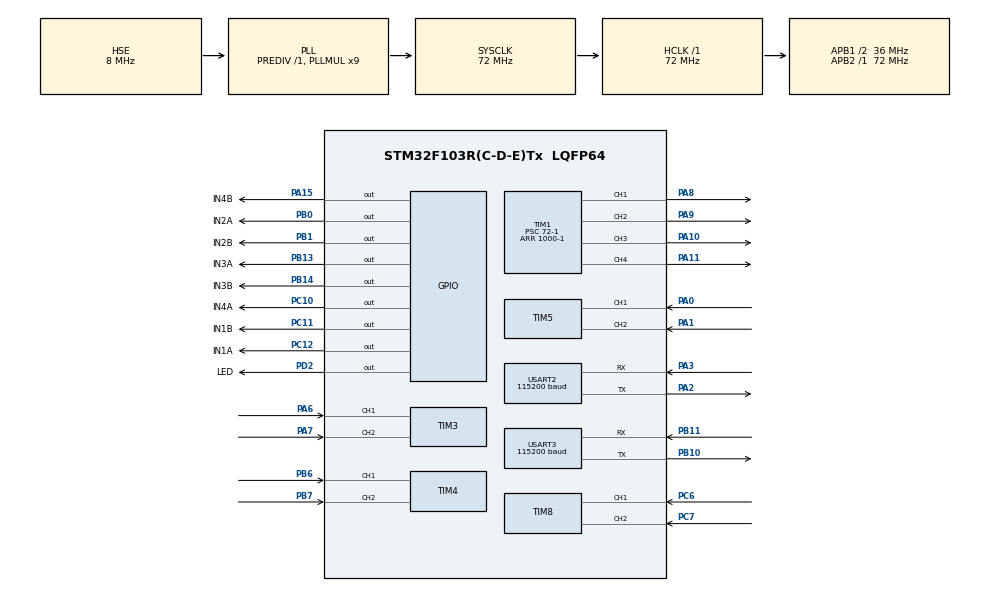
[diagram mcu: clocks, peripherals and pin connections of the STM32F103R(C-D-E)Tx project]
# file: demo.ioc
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Dma.Request0=USART2_RX
Dma.Request1=USART3_RX
Dma.USART2_RX.0.Direction=DMA_PERIPH_TO_MEMORY
Dma.USART2_RX.0.Instance=DMA1_Channel6
Dma.USART2_RX.0.MemDataAlignment=DMA_MDATAALIGN_BYTE
Dma.USART2_RX.0.MemInc=DMA_MINC_ENABLE
Dma.USART2_RX.0.Mode=DMA_NORMAL
Dma.USART2_RX.0.PeriphDataAlignment=DMA_PDATAALIGN_BYTE
Dma.USART2_RX.0.PeriphInc=DMA_PINC_DISABLE
Dma.USART2_RX.0.Priority=DMA_PRIORITY_HIGH
Dma.USART3_RX.1.Direction=DMA_PERIPH_TO_MEMORY
Dma.USART3_RX.1.Instance=DMA1_Channel3
Dma.USART3_RX.1.MemDataAlignment=DMA_MDATAALIGN_BYTE
Dma.USART3_RX.1.MemInc=DMA_MINC_ENABLE
Dma.USART3_RX.1.Mode=DMA_NORMAL
Dma.USART3_RX.1.PeriphDataAlignment=DMA_PDATAALIGN_BYTE
Dma.USART3_RX.1.PeriphInc=DMA_PINC_DISABLE
Dma.USART3_RX.1.Priority=DMA_PRIORITY_VERY_HIGH
Mcu.Family=STM32F1
Mcu.Name=STM32F103R(C-D-E)Tx
Mcu.Package=LQFP64
NVIC.DMA1_Channel3_IRQn=true\:0\:0\:false\:false\:true\:false\:true
NVIC.DMA1_Channel6_IRQn=true\:0\:0\:false\:false\:true\:false\:true
NVIC.PriorityGroup=NVIC_PRIORITYGROUP_4
NVIC.TIM2_IRQn=true\:0\:0\:false\:false\:true\:true\:true
NVIC.USART2_IRQn=true\:0\:0\:false\:false\:true\:true\:true
NVIC.USART3_IRQn=true\:0\:0\:false\:false\:true\:true\:true
PA0-WKUP.Signal=S_TIM5_CH1
PA1.Signal=S_TIM5_CH2
PA10.Signal=S_TIM1_CH3
PA11.Signal=S_TIM1_CH4
PA13.Mode=Serial_Wire
PA13.Signal=SYS_JTMS-SWDIO
PA14.Mode=Serial_Wire
PA14.Signal=SYS_JTCK-SWCLK
PA15.GPIO_Label=IN4B
PA15.Signal=GPIO_Output
PA2.Mode=Asynchronous
PA2.Signal=USART2_TX
PA3.Mode=Asynchronous
PA3.Signal=USART2_RX
PA6.Signal=S_TIM3_CH1
PA7.Signal=S_TIM3_CH2
PA8.Signal=S_TIM1_CH1
PA9.Signal=S_TIM1_CH2
PB0.GPIO_Label=IN2A
PB0.Signal=GPIO_Output
PB1.GPIO_Label=IN2B
PB1.Signal=GPIO_Output
PB10.Mode=Asynchronous
PB10.Signal=USART3_TX
PB11.Mode=Asynchronous
PB11.Signal=USART3_RX
PB13.GPIO_Label=IN3A
PB13.Signal=GPIO_Output
PB14.GPIO_Label=IN3B
PB14.Signal=GPIO_Output
PB6.Signal=S_TIM4_CH1
PB7.Signal=S_TIM4_CH2
PC10.GPIO_Label=IN4A
PC10.Signal=GPIO_Output
PC11.GPIO_Label=IN1B
PC11.Signal=GPIO_Output
PC12.GPIO_Label=IN1A
PC12.Signal=GPIO_Output
PC6.Signal=S_TIM8_CH1
PC7.Signal=S_TIM8_CH2
PD0-OSC_IN.Mode=HSE-External-Oscillator
PD0-OSC_IN.Signal=RCC_OSC_IN
PD1-OSC_OUT.Mode=HSE-External-Oscillator
PD1-OSC_OUT.Signal=RCC_OSC_OUT
PD2.GPIO_Label=LED
PD2.Signal=GPIO_Output
ProjectManager.HeapSize=0x200
ProjectManager.StackSize=0x400
ProjectManager.TargetToolchain=Makefile
RCC.AHBFreq_Value=72000000
RCC.APB1CLKDivider=RCC_HCLK_DIV2
RCC.APB1Freq_Value=36000000
RCC.APB1TimFreq_Value=72000000
RCC.APB2Freq_Value=72000000
RCC.APB2TimFreq_Value=72000000
RCC.HCLKFreq_Value=72000000
RCC.PLLMUL=RCC_PLL_MUL9
RCC.PLLSourceVirtual=RCC_PLLSOURCE_HSE
RCC.SYSCLKFreq_VALUE=72000000
RCC.SYSCLKSource=RCC_SYSCLKSOURCE_PLLCLK
RCC.USBFreq_Value=72000000
SH.S_TIM1_CH1.0=TIM1_CH1,PWM Generation1 CH1
SH.S_TIM1_CH2.0=TIM1_CH2,PWM Generation2 CH2
SH.S_TIM1_CH3.0=TIM1_CH3,PWM Generation3 CH3
SH.S_TIM1_CH4.0=TIM1_CH4,PWM Generation4 CH4
SH.S_TIM3_CH1.0=TIM3_CH1,Encoder_Interface
SH.S_TIM3_CH2.0=TIM3_CH2,Encoder_Interface
SH.S_TIM4_CH1.0=TIM4_CH1,Encoder_Interface
SH.S_TIM4_CH2.0=TIM4_CH2,Encoder_Interface
SH.S_TIM5_CH1.0=TIM5_CH1,Encoder_Interface
SH.S_TIM5_CH2.0=TIM5_CH2,Encoder_Interface
SH.S_TIM8_CH1.0=TIM8_CH1,Encoder_Interface
SH.S_TIM8_CH2.0=TIM8_CH2,Encoder_Interface
TIM1.Channel-PWM\ Generation1\ CH1=TIM_CHANNEL_1
TIM1.Channel-PWM\ Generation2\ CH2=TIM_CHANNEL_2
TIM1.Channel-PWM\ Generation3\ CH3=TIM_CHANNEL_3
TIM1.Channel-PWM\ Generation4\ CH4=TIM_CHANNEL_4
TIM1.Period=1000-1
TIM1.Prescaler=72-1
TIM2.Period=20000-1
TIM2.Prescaler=72-1
USART2.BaudRate=115200
USART2.VirtualMode=VM_ASYNC
USART3.BaudRate=115200
USART3.VirtualMode=VM_ASYNC
VP_TIM1_VS_ClockSourceINT.Mode=Internal
VP_TIM2_VS_ClockSourceINT.Mode=Internal
board=custom

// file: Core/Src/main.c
/* USER CODE BEGIN Header */
/**
 ******************************************************************************
 * @file           : main.c
 * @brief          : Main program body
 ******************************************************************************
 * @attention
 *
 * <h2><center>&copy; Copyright (c) 2021 STMicroelectronics.
 * All rights reserved.</center></h2>
 *
 * This software component is licensed by ST under BSD 3-Clause license,
 * the "License"; You may not use this file except in compliance with the
 * License. You may obtain a copy of the License at:
 *                        opensource.org/licenses/BSD-3-Clause
 *
 ******************************************************************************
 */
/* USER CODE END Header */
#include "main.h"
#include "dma.h"
#include "tim.h"
#include "usart.h"
#include "gpio.h"

/* USER CODE BEGIN Includes */
#include <math.h>
#include "jy62.h"
#include "zigbee.h"
/* USER CODE END Includes */

void SystemClock_Config(void);

/* USER CODE BEGIN 0 */
#define Turn_Angle_Bias 10
#define PID_MAX 900
#define PID_MIN 0
#define GET_PACKAGE 0
#define PUT_PACKAGE 1
#define SET_BEACON 2
#define EMPTY_STATE 3
#define TIME_UP 4
#define sq(x) ((x) * (x))
// #define ABS(x) ((x) > 0 ? (x) : (-(x)))

float packageX[2], packageY[2];
/*PID参数----------------------------------------------------------------------*/
float INTEGRAL[4] = {0, 0, 0, 0}, pre_err[4] = {0, 0, 0, 0};
const float Kp[4] = {40, 40, 40, 40}, Ki[4] = {0.2, 0.2, 0.2, 0.2}, Kd[4] = {100, 100, 100, 100};
float pid[4] = {0, 0, 0, 0};
float target[4] = {0, 0, 0, 0};
int isPackageValid[2] = {0, 0};
float distance;
float BeaconDir[3][2] = {{64, 64}, {192, 64}, {128, 190}}; // 信标坐标
uint8_t STATE;
uint8_t isInitialMinePark = 0;
float angle0;
float absoluteAngle;

struct MYCOORD
{
  float x, y;
  float I; //矿物强度
};

struct MYCOORD surveyData[2][3];
int surveyDataCount[2]; // 0 ~ 4 4 代表坐标已经计算完成.

struct PARK
{
  float x, y;
  uint16_t mineType;
};

struct RIVALBEACON
{
  float x, y;
  int id;
};
struct RIVALBEACON RivalBeacon[3] = {{0, 0, 0}, {0, 0, 0}, {0, 0, 0}};
int RivalBeaconNum = 0;

struct PARK Park[15] = {{15, 15, 0}, {127, 15, 0}, {239, 15, 0}, {239, 127, 0}, {239, 239, 0}, {127, 239, 0}, {15, 239, 0}, {15, 127, 0}, {0, 0, 0}, {0, 0, 0}, {0, 0, 0}};

uint16_t userGetMineNum(uint16_t _mineType)
{
  if (_mineType == 0)
    return getCarMineANum();
  if (_mineType == 1)
    return getCarMineBNum();
  if (_mineType == 2)
    return getCarMineCNum();
  if (_mineType == 3)
    return getCarMineDNum();
  return 0;
}

void clearDistance()
{
  distance = 0;
}

float getDistance()
{
  return distance;
}

float PID(float in, float target, int i)
{
  float err = target - in;
  INTEGRAL[i] += err * 20;
  if (INTEGRAL[i] > 8000)
    INTEGRAL[i] = 8000;
  float derr = (err - pre_err[i]) / 20;
  pre_err[i] = err;
  pid[i] = (Kp[i] * err) + (Ki[i] * INTEGRAL[i]) + (Kd[i] * derr);
  float output;
  if (pid[i] < PID_MIN)
    output = PID_MIN;
  else if (pid[i] > PID_MAX)
    output = PID_MAX;
  else
    output = pid[i];
  return output;
}

void Calibrate_Angle()
{
  float temp = GetYaw();
  angle0 = temp / 20;
  if (temp < 60)
    for (int i = 1; i < 20; i++)
    {
      if ((temp = GetYaw()) > 300)
        temp -= 360;
      angle0 += temp / 20;
    }
  else if (temp > 300)
    for (int i = 1; i < 20; i++)
    {
      if ((temp = GetYaw()) < 60)
        temp += 360;
      angle0 += temp / 20;
    }
  else
    for (int i = 1; i < 20; i++)
      angle0 += GetYaw() / 20;
  absoluteAngle = angle0;
}

float getAngle()
{
  float temp = GetYaw() - angle0;
  return temp > 180 ? temp - 360 : temp < -180 ? temp + 360
                                               : temp;
}

void Set_Left_Direction(int direction)
{
  HAL_GPIO_WritePin(IN1A_GPIO_Port, IN1A_Pin, RESET);
  HAL_GPIO_WritePin(IN1B_GPIO_Port, IN1B_Pin, RESET);
  HAL_GPIO_WritePin(IN2A_GPIO_Port, IN2A_Pin, RESET);
  HAL_GPIO_WritePin(IN2B_GPIO_Port, IN2B_Pin, RESET);
  if (direction == 1)
  {
    HAL_GPIO_WritePin(IN1A_GPIO_Port, IN1A_Pin, SET);
    HAL_GPIO_WritePin(IN2B_GPIO_Port, IN2B_Pin, SET);
  }
  else if (direction == -1)
  {
    HAL_GPIO_WritePin(IN1B_GPIO_Port, IN1B_Pin, SET);
    HAL_GPIO_WritePin(IN2A_GPIO_Port, IN2A_Pin, SET);
  }
  else
  {
    HAL_GPIO_WritePin(IN1A_GPIO_Port, IN1A_Pin, SET);
    HAL_GPIO_WritePin(IN1B_GPIO_Port, IN1B_Pin, SET);
    HAL_GPIO_WritePin(IN2A_GPIO_Port, IN2A_Pin, SET);
    HAL_GPIO_WritePin(IN2B_GPIO_Port, IN2B_Pin, SET);
  }
}

void Set_Right_Direction(int direction)
{
  HAL_GPIO_WritePin(IN3A_GPIO_Port, IN3A_Pin, RESET);
  HAL_GPIO_WritePin(IN3B_GPIO_Port, IN3B_Pin, RESET);
  HAL_GPIO_WritePin(IN4A_GPIO_Port, IN4A_Pin, RESET);
  HAL_GPIO_WritePin(IN4B_GPIO_Port, IN4B_Pin, RESET);
  if (direction == 1)
  {
    HAL_GPIO_WritePin(IN3A_GPIO_Port, IN3A_Pin, SET);
    HAL_GPIO_WritePin(IN4B_GPIO_Port, IN4B_Pin, SET);
  }
  else if (direction == -1)
  {
    HAL_GPIO_WritePin(IN3B_GPIO_Port, IN3B_Pin, SET);
    HAL_GPIO_WritePin(IN4A_GPIO_Port, IN4A_Pin, SET);
  }
  else
  {
    HAL_GPIO_WritePin(IN3A_GPIO_Port, IN3A_Pin, SET);
    HAL_GPIO_WritePin(IN3B_GPIO_Port, IN3B_Pin, SET);
    HAL_GPIO_WritePin(IN4A_GPIO_Port, IN4A_Pin, SET);
    HAL_GPIO_WritePin(IN4B_GPIO_Port, IN4B_Pin, SET);
  }
}

void Set_Speed(float speed, int i) { target[i] = speed > 0 ? speed : 0; }

float Add_Angle(float angleA, float angleB)
{
  float result = angleA + angleB;
  return result < -180 ? result + 360 : result > 180 ? result - 360
                                                     : result;
}

void Turn(float angle)
{
  Set_Right_Direction(0);
  Set_Left_Direction(0);
  float v;
  angle0 = GetYaw();
  angle0 = Add_Angle(angle0, angle);
  if (getAngle() < 0)
  {
    Set_Left_Direction(-1);
    Set_Right_Direction(1);
    for (int i = 0; i < 4; i++)
      Set_Speed(8, i);
    while (getAngle() < -50)
      ;
    while (getAngle() < -5)
    {
      v = 3;
      for (int i = 0; i < 4; i++)
        Set_Speed(v, i);
    }
  }
  else
  {
    Set_Left_Direction(1);
    Set_Right_Direction(-1);
    for (int i = 0; i < 4; i++)
      Set_Speed(8, i);
    while (getAngle() > 50)
      ;
    while (getAngle() > 5)
    {
      v = 3;
      for (int i = 0; i < 4; i++)
        Set_Speed(v, i);
    }
  }
  if (getAngle() < 0)
  {
    Set_Left_Direction(-1);
    Set_Right_Direction(1);
    for (int i = 0; i < 4; i++)
      Set_Speed(2, i);
    while (getAngle() < -1)
      ;
  }
  else
  {
    Set_Left_Direction(1);
    Set_Right_Direction(-1);
    for (int i = 0; i < 4; i++)
      Set_Speed(2, i);
    while (getAngle() > 1)
      ;
  }
  Set_Left_Direction(0);
  Set_Right_Direction(0);
}

void HAL_TIM_PeriodElapsedCallback(TIM_HandleTypeDef *htim)
{
  if (htim->Instance == TIM2)
  {
    unsigned int cnt0 = __HAL_TIM_GetCounter(&htim3);
    unsigned int cnt1 = __HAL_TIM_GetCounter(&htim4);
    unsigned int cnt2 = __HAL_TIM_GetCounter(&htim5);
    unsigned int cnt3 = __HAL_TIM_GetCounter(&htim8);

    if (cnt0 > 32676)
      cnt0 = 65535 - cnt0;
    if (cnt1 > 32676)
      cnt1 = 65535 - cnt1;
    if (cnt2 > 32676)
      cnt2 = 65535 - cnt2;
    if (cnt3 > 32676)
      cnt3 = 65535 - cnt3;

    __HAL_TIM_SetCounter(&htim3, 0);
    __HAL_TIM_SetCounter(&htim4, 0);
    __HAL_TIM_SetCounter(&htim5, 0);
    __HAL_TIM_SetCounter(&htim8, 0);

    float speed0 = (float)cnt0 * 20 / 532 * 20.4 * 0.71;
    float speed1 = (float)cnt1 * 20 / 531 * 20.4 * 0.71;
    float speed2 = (float)cnt2 * 20 / 531 * 20.4 * 0.71;
    float speed3 = (float)cnt3 * 20 / 530 * 20.4 * 0.71;

    // distance += (speed0 + speed1 + speed2 + speed3) * 0.0125;
    float distance1 = (speed0 + speed2) * 0.025;
    float distance2 = (speed1 + speed3) * 0.025;
    distance += sqrt(sq(distance1) + sq(distance2));

    int pwm0 = (int)PID(speed0, target[0], 0);
    int pwm1 = (int)PID(speed1, target[1], 1);
    int pwm2 = (int)PID(speed2, target[2], 2);
    int pwm3 = (int)PID(speed3, target[3], 3);

    __HAL_TIM_SetCompare(&htim1, TIM_CHANNEL_1, pwm0);
    __HAL_TIM_SetCompare(&htim1, TIM_CHANNEL_2, pwm1);
    __HAL_TIM_SetCompare(&htim1, TIM_CHANNEL_3, pwm2);
    __HAL_TIM_SetCompare(&htim1, TIM_CHANNEL_4, pwm3);
  }
}
struct MYCOORD userGetCarPos()
{
  struct MYCOORD coord = {0, 0, 0};
  if (getIsCarPosValid())
  {
    coord.x = getCarPosX();
    coord.y = getCarPosY();
    return coord;
  }
  int x[3], y[3], beaconD[3], xBase, yBase, cnt = 0;
  float A[2], B[2], C[2], xTemp[2], yTemp[2], xRes = 0, yRes = 0;
  int rivalBeaconD[3];
  for (int i = 0; i < 3; i++)
  {
    x[i] = getMyBeaconPosX(i);
    y[i] = getMyBeaconPosY(i);
    beaconD[i] = getDistanceOfMyBeacon(i);
  }
  for (int i = 0; i < RivalBeaconNum; i++)
    rivalBeaconD[i] = getDistanceOfRivalBeacon(RivalBeacon[i].id);
  A[0] = x[1] - x[0];
  B[0] = y[1] - y[0];
  A[1] = x[2] - x[0];
  B[1] = y[2] - y[0];
  xTemp[0] = (x[0] + x[1]) / 2 - A[0] * (sq(beaconD[1]) - sq(beaconD[0])) / (sq(A[0]) + sq(B[0])) / 2;
  yTemp[0] = (y[0] + y[1]) / 2 - B[0] * (sq(beaconD[1]) - sq(beaconD[0])) / (sq(A[0]) + sq(B[0])) / 2;
  xTemp[1] = (x[0] + x[2]) / 2 - A[1] * (sq(beaconD[2]) - sq(beaconD[0])) / (sq(A[1]) + sq(B[1])) / 2;
  yTemp[1] = (y[0] + y[2]) / 2 - B[1] * (sq(beaconD[2]) - sq(beaconD[0])) / (sq(A[1]) + sq(B[1])) / 2;
  C[0] = A[0] * xTemp[0] + B[0] * yTemp[0];
  C[1] = A[1] * xTemp[1] + B[1] * yTemp[1];
  xBase = (C[0] * B[1] - C[1] * B[0]) / (A[0] * B[1] - A[1] * B[0]);
  yBase = (C[1] * A[0] - C[0] * A[1]) / (A[0] * B[1] - A[1] * B[0]);
  for (int i = -1; i < 2; i++)
    for (int j = -1; j < 2; j++)
      if ((int)sqrt(sq(xBase - x[0] + i) + sq(yBase - y[0] + j)) == beaconD[0] && (int)sqrt(sq(xBase - x[1] + i) + sq(yBase - y[1] + j)) == beaconD[1] && (int)sqrt(sq(xBase - x[2] + i) + sq(yBase - y[2] + j)) == beaconD[2])
      {
        int flag = 1;
        for (int k = 0; k < RivalBeaconNum; k++)
          if ((int)sqrt(sq(xBase - RivalBeacon[k].x + i) + sq(yBase - RivalBeacon[k].y + j)) != rivalBeaconD[k])
            flag = 0;
        if (flag)
          xRes += i, yRes += j, cnt++;
      }

  if (cnt == 0)
  {
    coord.x = xBase;
    coord.y = yBase;
    return coord;
  }
  coord.x = xBase + xRes / cnt;
  coord.y = yBase + yRes / cnt;
  return coord;
}

struct MYCOORD surveyGetCarPos()
{
  struct MYCOORD coord = {0, 0, 0};
  if (getIsCarPosValid())
  {
    coord.x = getCarPosX();
    coord.y = getCarPosY();
    return coord;
  };
  int x[3], y[3], beaconD[3], xBase, yBase, cnt = 0;
  int rivalBeaconD[3];
  float A[2], B[2], C[2], xTemp[2], yTemp[2], xRes = 0, yRes = 0;
  for (int i = 0; i < 3; i++)
  {
    x[i] = getMyBeaconPosX(i);
    y[i] = getMyBeaconPosY(i);
    beaconD[i] = getDistanceOfMyBeacon(i);
  }
  for (int i = 0; i < RivalBeaconNum; i++)
    rivalBeaconD[i] = getDistanceOfRivalBeacon(RivalBeacon[i].id);
  A[0] = x[1] - x[0];
  B[0] = y[1] - y[0];
  A[1] = x[2] - x[0];
  B[1] = y[2] - y[0];
  xTemp[0] = (x[0] + x[1]) / 2 - A[0] * (sq(beaconD[1]) - sq(beaconD[0])) / (sq(A[0]) + sq(B[0])) / 2;
  yTemp[0] = (y[0] + y[1]) / 2 - B[0] * (sq(beaconD[1]) - sq(beaconD[0])) / (sq(A[0]) + sq(B[0])) / 2;
  xTemp[1] = (x[0] + x[2]) / 2 - A[1] * (sq(beaconD[2]) - sq(beaconD[0])) / (sq(A[1]) + sq(B[1])) / 2;
  yTemp[1] = (y[0] + y[2]) / 2 - B[1] * (sq(beaconD[2]) - sq(beaconD[0])) / (sq(A[1]) + sq(B[1])) / 2;
  C[0] = A[0] * xTemp[0] + B[0] * yTemp[0];
  C[1] = A[1] * xTemp[1] + B[1] * yTemp[1];
  xBase = (C[0] * B[1] - C[1] * B[0]) / (A[0] * B[1] - A[1] * B[0]);
  yBase = (C[1] * A[0] - C[0] * A[1]) / (A[0] * B[1] - A[1] * B[0]);
  for (int i = -1; i < 2; i++)
    for (int j = -1; j < 2; j++)
      if ((int)sqrt(sq(xBase - x[0] + i) + sq(yBase - y[0] + j)) == beaconD[0] && (int)sqrt(sq(xBase - x[1] + i) + sq(yBase - y[1] + j)) == beaconD[1] && (int)sqrt(sq(xBase - x[2] + i) + sq(yBase - y[2] + j)) == beaconD[2])
      {
        int flag = 1;
        for (int k = 0; k < RivalBeaconNum; k++)
          if ((int)sqrt(sq(xBase - RivalBeacon[k].x + i) + sq(yBase - RivalBeacon[k].y + j)) != rivalBeaconD[k])
            flag = 0;
        if (flag)
          xRes += i, yRes += j, cnt++;
      }
  if (cnt != 1)
  {
    coord.x = -1.0;
    coord.y = -1.0;
    coord.I = -1.0;
  }
  else
  {
    coord.x = xBase + xRes;
    coord.y = yBase + yRes;
  }
  return coord;
}

void Calculate_Package_Position(int i)
{
  float A[2], B[2], C[2], invdet;
  A[0] = surveyData[i][1].x - surveyData[i][0].x;
  A[1] = surveyData[i][2].x - surveyData[i][1].x;
  B[0] = surveyData[i][1].y - surveyData[i][0].y;
  B[1] = surveyData[i][2].y - surveyData[i][1].y;
  C[0] = 2.0e9 * (surveyData[i][1].I - surveyData[i][0].I) / (surveyData[i][1].I + surveyData[i][0].I) / (surveyData[i][1].I + surveyData[i][0].I) + (surveyData[i][1].x + surveyData[i][0].x) * A[0] / 2.0 + (surveyData[i][1].y + surveyData[i][0].y) * B[0] / 2.0;
  C[1] = 2.0e9 * (surveyData[i][2].I - surveyData[i][1].I) / (surveyData[i][2].I + surveyData[i][1].I) / (surveyData[i][2].I + surveyData[i][1].I) + (surveyData[i][2].x + surveyData[i][1].x) * A[1] / 2.0 + (surveyData[i][2].y + surveyData[i][1].y) * B[1] / 2.0;
  invdet = 1.0 / (A[0] * B[1] - A[1] * B[0]);
  packageX[i] = (B[1] * C[0] - B[0] * C[1]) * invdet;
  packageY[i] = (A[0] * C[1] - A[1] * C[0]) * invdet;
}

void survey()
{
  struct MYCOORD coord = surveyGetCarPos();
  if (coord.I < -0.5)
    return;
  for (int i = 0; i < 2; i++)
  {
    if (isPackageValid[i])
      continue;
    if (surveyDataCount[i] == 0)
    {
      surveyData[i][0] = coord;
      surveyData[i][0].I = getMineIntensity(i);
      surveyDataCount[i] = 1;
    }
    else if (surveyDataCount[i] == 1)
    {
      if ((int)coord.x == (int)surveyData[i][0].x && (int)coord.y == (int)surveyData[i][0].y)
        continue;
      surveyData[i][1] = coord;
      surveyData[i][1].I = getMineIntensity(i);
      surveyDataCount[i] = 2;
    }
    else if (surveyDataCount[i] == 2)
    {
      if (((int)surveyData[i][1].x - (int)surveyData[i][0].x) * ((int)coord.y - (int)surveyData[i][0].y) - ((int)coord.x - (int)surveyData[i][0].x) * ((int)surveyData[i][1].y - (int)surveyData[i][0].y) == 0)
        continue;
      surveyData[i][2] = coord;
      surveyData[i][2].I = getMineIntensity(i);
      surveyDataCount[i] = 3;
    }
    else if (surveyDataCount[i] == 3)
    {
      continue;
    }
    else if (surveyDataCount[i] == 4)
      continue;
  }
  for (int i = 0; i < 2; i++)
    if (surveyDataCount[i] == 3)
    {
      Calculate_Package_Position(i);
      if (packageX[i] > 7 && packageX[i] < 248 && packageY[i] > 7 && packageY[i] < 248)
        isPackageValid[i] = 1;
      else
        isPackageValid[i] = 0;
      surveyDataCount[i] = 0;
    }
}

void Set_RF_Direction(int direction);
void Set_LF_Direction(int direction);

void Move(float velocity, float angle)
{
  angle *= 2 * 3.14159 / 360;
  angle += 0.785398;
  float v1, v2;
  v1 = velocity * cos(angle);
  v2 = velocity * sin(angle);
  if (v1 >= 0)
  {
    Set_LF_Direction(1);
    Set_Speed(v1, 0);
    Set_Speed(v1, 2);
  }
  else
  {
    Set_LF_Direction(-1);
    Set_Speed(-v1, 0);
    Set_Speed(-v1, 2);
  }

  if (v2 >= 0)
  {
    Set_RF_Direction(1);
    Set_Speed(v2, 1);
    Set_Speed(v2, 3);
  }
  else
  {
    Set_RF_Direction(-1);
    Set_Speed(-v2, 1);
    Set_Speed(-v2, 3);
  }
}

void SurveyTowards(float targetAngle)
{
  if (isPackageValid[0] && isPackageValid[1])
  {
    return;
  }
  if (!isPackageValid[0])
    surveyDataCount[0] = 0;
  if (!isPackageValid[1])
    surveyDataCount[1] = 0;
  Move(10, targetAngle);
  int temp = surveyDataCount[0] + surveyDataCount[1];
  while (surveyDataCount[0] + surveyDataCount[1] == temp)
  {
    HAL_Delay(20);
    survey();
  }
  Move(10, targetAngle - 30);
  temp = surveyDataCount[0] + surveyDataCount[1];
  while (surveyDataCount[0] + surveyDataCount[1] == temp)
  {
    HAL_Delay(20);
    survey();
  }
  temp = surveyDataCount[0] + surveyDataCount[1];
  Move(10, targetAngle + 30);
  while (surveyDataCount[0] + surveyDataCount[1] == temp)
  {
    HAL_Delay(20);
    survey();
  }
}

int Avoidance(float x0, float y0, float x, float y)
{
  float A, B, C, xn, yn;
  A = y - y0;
  B = x0 - x;
  C = (x - x0) * y0 - (y - y0) * x0;
  for (int i = 0; i < 3; i++)
  {
    xn = (RivalBeacon[i].x * B * B - A * C - RivalBeacon[i].y * A * B) / (A * A + B * B);
    yn = (RivalBeacon[i].y * A * A - B * C - A * B * RivalBeacon[i].x) / (A * A + B * B);
    if (x > x0)
    {
      if (xn > x || xn < x0)
        continue;
    }
    else
    {
      if (xn > x0 || xn < x)
        continue;
    }
    float dis = sq(xn - RivalBeacon[i].x) + sq(yn - RivalBeacon[i].y);
    if (dis < 64)
      return 0;
  }
  return 1;
}

void MoveToNonAvoid(float x, float y, uint16_t _mineType);

void MoveTo(float x, float y, uint16_t _mineType)
{
  if (x < 7 || x > 248 || y < 7 || y > 248)
    return;
  float velocity;
  struct MYCOORD coord = userGetCarPos();
  float errX = x - coord.x;
  float errY = y - coord.y;

  if (Avoidance(coord.x, coord.y, x, y) == 0)
  {
    if (Avoidance(coord.x, coord.y, coord.x, y) == 1 && Avoidance(coord.x, y, x, y) == 1)
    {
      MoveToNonAvoid(coord.x, y, _mineType);
      MoveToNonAvoid(x, y, _mineType);
      return;
    }
    else if (Avoidance(coord.x, coord.y, x, coord.y) == 1 && Avoidance(x, coord.y, x, y) == 1)
    {
      MoveToNonAvoid(x, coord.y, _mineType);
      MoveToNonAvoid(x, y, _mineType);
      return;
    }
    /* if (ABS(coord.x - x) > ABS(coord.y - y))
    {
      if (coord.y > 127)
        MoveToNonAvoid(coord.x, coord.y - 50, _mineType);
      else
        MoveToNonAvoid(coord.x, coord.y + 50, _mineType);
      MoveTo(x, y, _mineType);
      return;
    }
    else
    {
      if (coord.x > 127)
        MoveToNonAvoid(coord.x - 50, coord.y, _mineType);
      else
        MoveToNonAvoid(coord.x + 50, coord.y, _mineType);
      MoveTo(x, y, _mineType);
    } */
  }

  float targetAngle = 0, difference = sqrt(errX * errX + errY * errY);
  clearDistance();
  int flag = 0;
  targetAngle = atan2(errX, errY) * 57.296 + absoluteAngle - GetYaw();
  if (STATE == (uint8_t)GET_PACKAGE)
    flag = getCarMineSumNum();
  if (STATE != SET_BEACON)
    SurveyTowards(targetAngle);
  targetAngle = atan2(errX, errY) * 57.296 + absoluteAngle - GetYaw();
  while (difference > 5)
  {
    clearDistance();
    if (STATE == (uint8_t)GET_PACKAGE && flag < getCarMineSumNum())
      break;
    else if (STATE == (uint8_t)SET_BEACON && difference < 20)
      break;
    if (difference < 10)
      velocity = 3;
    else if (difference < 20)
      velocity = 7;
    else if (difference < 30)
      velocity = 10;
    else if (difference < 50)
    {
      if (STATE == (uint8_t)PUT_PACKAGE)
        velocity = 13;
      else
        velocity = 17;
    }
    else if (difference < 100)
    {
      if (STATE == (uint8_t)PUT_PACKAGE)
        velocity = 17;
      else
        velocity = 23;
    }
    else
    {
      if (STATE == (uint8_t)PUT_PACKAGE)
        velocity = 20;
      else
        velocity = 27;
    }

    Move(velocity, targetAngle);

    while (getDistance() < 0.75 * difference)
    {
      HAL_Delay(20);
      if (STATE == (uint8_t)GET_PACKAGE && flag < getCarMineSumNum())
        break;
    }

    Set_LF_Direction(0);
    Set_RF_Direction(0);
    HAL_Delay(400);
    // while (STATE == (uint8_t)PUT_PACKAGE && userGetMineNum(_mineType) != 0)
    //   HAL_Delay(100);
    coord = userGetCarPos();
    errX = x - coord.x;
    errY = y - coord.y;
    difference = sqrt(errX * errX + errY * errY);
    targetAngle = atan2(errX, errY) * 57.296 + absoluteAngle - GetYaw();
  }
}

void MoveToNonAvoid(float x, float y, uint16_t _mineType)
{
  if (x < 7 || x > 248 || y < 7 || y > 248)
    return;
  float velocity;
  struct MYCOORD coord = userGetCarPos();
  float errX = x - coord.x;
  float errY = y - coord.y;

  float targetAngle = 0, difference = sqrt(errX * errX + errY * errY);
  clearDistance();
  int flag = 0;
  targetAngle = atan2(errX, errY) * 57.296 + absoluteAngle - GetYaw();
  if (STATE == (uint8_t)GET_PACKAGE)
    flag = getCarMineSumNum();
  if (STATE != SET_BEACON)
    SurveyTowards(targetAngle);
  targetAngle = atan2(errX, errY) * 57.296 + absoluteAngle - GetYaw();
  while (difference > 5)
  {
    clearDistance();
    if (STATE == (uint8_t)GET_PACKAGE && flag < getCarMineSumNum())
      break;
    else if (STATE == (uint8_t)SET_BEACON && difference < 20)
      break;
    if (difference < 10)
      velocity = 3;
    else if (difference < 20)
      velocity = 7;
    else if (difference < 30)
      velocity = 10;
    else if (difference < 50)
    {
      if (STATE == (uint8_t)PUT_PACKAGE)
        velocity = 13;
      else
        velocity = 17;
    }
    else if (difference < 100)
    {
      if (STATE == (uint8_t)PUT_PACKAGE)
        velocity = 17;
      else
        velocity = 23;
    }
    else
    {
      if (STATE == (uint8_t)PUT_PACKAGE)
        velocity = 20;
      else
        velocity = 27;
    }

    Move(velocity, targetAngle);

    while (getDistance() < 0.75 * difference)
    {
      HAL_Delay(20);
      if (STATE == (uint8_t)GET_PACKAGE && flag < getCarMineSumNum())
        break;
    }

    Set_LF_Direction(0);
    Set_RF_Direction(0);
    HAL_Delay(400);
    // while (STATE == (uint8_t)PUT_PACKAGE && userGetMineNum(_mineType) != 0)
    //   HAL_Delay(100);
    coord = userGetCarPos();
    errX = x - coord.x;
    errY = y - coord.y;
    difference = sqrt(errX * errX + errY * errY);
    targetAngle = atan2(errX, errY) * 57.296 + absoluteAngle - GetYaw();
  }
}

// void Calculate_Package_Position(void)
// {
//   float x[3], y[3];
//   float I[3][2];
//   float A[2], B[2], C[2][2], invdet;
//   Get_Survey_Data(&x[0], &y[0], I[0]);
//   do
//   {
//     Get_Survey_Data(&x[0], &y[0], I[0]);
//   } while (x[0] < 0 || y[0] < 0);
//   // u2_printf("%d, %d, %d, %d\n", x[0], y[0], I[0][0], I[0][1]);
//   Set_Speed(0, 0);
//   Set_Speed(0, 2);
//   Set_Speed(7, 1);
//   Set_Speed(7, 3);
//   Set_LF_Direction(0);
//   Set_RF_Direction(1);
//   do
//   {
//     HAL_Delay(100);
//     Get_Survey_Data(&x[1], &y[1], I[1]);
//     if (x[1] < 0 || y[1] < 0)
//       continue;
//   } while (((int)x[1] - (int)x[0]) == 0 && ((int)y[1] - (int)y[0]) == 0);
//   Set_Speed(7, 0);
//   Set_Speed(7, 2);
//   Set_Speed(0, 1);
//   Set_Speed(0, 3);
//   Set_LF_Direction(1);
//   Set_RF_Direction(0);
//   do
//   {
//     HAL_Delay(100);
//     Get_Survey_Data(&x[2], &y[2], I[2]);
//     if (x[2] < 0 || y[2] < 0)
//       continue;
//   } while (((int)x[1] - (int)x[0]) * ((int)y[2] - (int)y[0]) - ((int)x[2] - (int)x[0]) * ((int)y[1] - (int)y[0]) == 0);
//   A[0] = (x[1] - x[0]);
//   A[1] = (x[2] - x[1]);
//   B[0] = (y[1] - y[0]);
//   B[1] = (y[2] - y[1]);
//   C[0][0] = 2.0e9 * (I[1][0] - I[0][0]) / (I[1][0] + I[0][0]) / (I[1][0] + I[0][0]) + (x[1] + x[0]) * (x[1] - x[0]) / 2 + (y[1] + y[0]) * (y[1] - y[0]) / 2;
//   C[1][0] = 2.0e9 * (I[2][0] - I[1][0]) / (I[2][0] + I[1][0]) / (I[2][0] + I[1][0]) + (x[2] + x[1]) * (x[2] - x[1]) / 2 + (y[2] + y[1]) * (y[2] - y[1]) / 2;
//   C[0][1] = 2.0e9 * (I[1][1] - I[0][1]) / (I[1][1] + I[0][1]) / (I[1][1] + I[0][1]) + (x[1] + x[0]) * (x[1] - x[0]) / 2 + (y[1] + y[0]) * (y[1] - y[0]) / 2;
//   C[1][1] = 2.0e9 * (I[2][1] - I[1][1]) / (I[2][1] + I[1][1]) / (I[2][1] + I[1][1]) + (x[2] + x[1]) * (x[2] - x[1]) / 2 + (y[2] + y[1]) * (y[2] - y[1]) / 2;
//   invdet = 1.0 / (A[0] * B[1] - A[1] * B[0]);
//   packageX[0] = (B[1] * C[0][0] - B[0] * C[1][0]) * invdet;
//   packageY[0] = (A[0] * C[1][0] - A[1] * C[0][0]) * invdet;
//   packageX[1] = (B[1] * C[0][1] - B[0] * C[1][1]) * invdet;
//   packageY[1] = (A[0] * C[1][1] - A[1] * C[0][1]) * invdet;
// }

void Set_Beacon()
{
  Set_LF_Direction(0);
  Set_RF_Direction(0);
  HAL_Delay(500);
  HAL_GPIO_WritePin(LED_GPIO_Port, LED_Pin, SET);
  HAL_Delay(1000);
  HAL_GPIO_WritePin(LED_GPIO_Port, LED_Pin, RESET);
}

uint16_t getNearestPark(uint16_t _mineType)
{
  uint16_t tmp = 0;
  struct MYCOORD coord = userGetCarPos();
  float x = coord.x, y = coord.y;
  float dist = 0, distMin = 1e9;
  if (getCarTask() == 0)
  {
    for (int i = 0; i < 8; i++)
    {
      dist = sq(x - Park[i].x) + sq(y - Park[i].y);
      if (dist < distMin)
      {
        distMin = dist;
        tmp = i;
      }
    }
  }
  else
  {
    for (int i = 0; i < 11; i++)
    {
      if (Park[i].mineType == _mineType)
      {
        dist = sq(x - Park[i].x) + sq(y - Park[i].y);
        if (dist < distMin)
        {
          distMin = dist;
          tmp = i;
        }
      }
    }
  }
  return tmp;
}

void getPackage()
{
  struct MYCOORD coord = userGetCarPos();
  if (!isPackageValid[0] && !isPackageValid[1])
  {
    if (coord.x < 128 && coord.y < 128)
      SurveyTowards(45);
    else if (coord.x < 128 && coord.y >= 128)
      SurveyTowards(135);
    else if (coord.x >= 128 && coord.y < 128)
      SurveyTowards(-45);
    else
      SurveyTowards(-135);
  }
  else if (isPackageValid[0] && isPackageValid[1])
  {
    float dist0 = sq(coord.x - packageX[0]) + sq(coord.y - packageY[0]);
    float dist1 = sq(coord.x - packageX[1]) + sq(coord.y - packageY[1]);
    if (dist0 < dist1)
    {
      MoveTo(packageX[0], packageY[0], 0);
      isPackageValid[0] = 0;
    }
    else
    {
      MoveTo(packageX[1], packageY[1], 0);
      isPackageValid[1] = 0;
    }
  }
  else
  {
    if (isPackageValid[0])
    {
      coord = userGetCarPos();
      SurveyTowards(atan2(packageX[0] - coord.x, packageY[0] - coord.y) * 57.296 + absoluteAngle - GetYaw());
      if (sqrt(sq(packageX[1] - coord.x) + sq(packageY[1] - coord.y)) < sqrt(sq(packageX[0] - coord.x) + sq(packageY[0] - coord.y)) - 10.0)
      {
        MoveTo(packageX[1], packageY[1], 0);
        isPackageValid[1] = 0;
      }
      else
      {
        MoveTo(packageX[0], packageY[0], 0);
        isPackageValid[0] = 0;
      }
    }
    else
    {
      coord = userGetCarPos();
      SurveyTowards(atan2(packageX[1] - coord.x, packageY[1] - coord.y) * 57.296 + absoluteAngle - GetYaw());
      if (sqrt(sq(packageX[0] - coord.x) + sq(packageY[0] - coord.y)) < sqrt(sq(packageX[1] - coord.x) + sq(packageY[1] - coord.y)) - 10.0)
      {
        MoveTo(packageX[0], packageY[0], 0);
        isPackageValid[0] = 0;
      }
      else
      {
        MoveTo(packageX[1], packageY[1], 0);
        isPackageValid[1] = 0;
      }
    }
  }
}

void SetBeacon()
{
  struct MYCOORD coord = userGetCarPos();
  int k = 0;
  float dist1[3], dist2[2];
  int tmp = 0, j = 0;
  for (int i = 0; i < 3; i++)
    dist1[i] = sq(coord.x - BeaconDir[i][0]) + sq(coord.y - BeaconDir[i][1]);
  for (int i = 0; i < 3; i++)
    tmp = dist1[tmp] < dist1[i] ? tmp : i;
  MoveTo(BeaconDir[tmp][0], BeaconDir[tmp][1], 0);
  zigbeeSend(k++);
  Set_Beacon();
  for (int i = 0; i < 3; i++)
  {
    if (i != tmp)
    {
      coord = userGetCarPos();
      dist2[j] = sq(coord.x - BeaconDir[i][0]) + sq(coord.y - BeaconDir[i][1]);
      j++;
    }
  }
  if (dist2[0] < dist2[1])
  {
    for (int i = 0; i < 3; i++)
      if (i != tmp)
      {
        MoveTo(BeaconDir[i][0], BeaconDir[i][1], 0);
        zigbeeSend(k++);
        Set_Beacon();
      }
  }
  else
  {
    for (int i = 2; i >= 0; i--)
      if (i != tmp)
      {
        MoveTo(BeaconDir[i][0], BeaconDir[i][1], 0);
        zigbeeSend(k++);
        Set_Beacon();
      }
  }
}

uint16_t curMostMineType()
{
  uint16_t tmp = 0, mineNum[4];
  mineNum[0] = getCarMineANum();
  mineNum[1] = getCarMineBNum();
  mineNum[2] = getCarMineCNum();
  mineNum[3] = getCarMineDNum();
  for (int i = 0; i < 4; i++)
  {
    if (mineNum[i] > mineNum[tmp])
      tmp = i;
  }
  return tmp;
}

void initialParkMineType()
{
  for (int i = 0; i < 8; i++)
    Park[i].mineType = (uint16_t)getParkDotMineType(i);
  for (int i = 0; i < 3; i++)
  {
    Park[i + 8].x = (float)getMyBeaconPosX(i);
    Park[i + 8].y = (float)getMyBeaconPosY(i);
    Park[i + 8].mineType = getMyBeaconMineType(i);
    if (getIsDistanceOfRivalBeaconValid(i))
    {
      RivalBeacon[RivalBeaconNum].x = (float)getRivalBeaconPosX(i);
      RivalBeacon[RivalBeaconNum].y = (float)getRivalBeaconPosY(i);
      RivalBeacon[RivalBeaconNum].id = i;
      RivalBeaconNum++;
    }
  }
}

void Set_LF_Direction(int direction)
{
  HAL_GPIO_WritePin(IN3A_GPIO_Port, IN3A_Pin, RESET);
  HAL_GPIO_WritePin(IN3B_GPIO_Port, IN3B_Pin, RESET);
  HAL_GPIO_WritePin(IN1A_GPIO_Port, IN1A_Pin, RESET);
  HAL_GPIO_WritePin(IN1B_GPIO_Port, IN1B_Pin, RESET);
  if (direction == 1)
  {
    HAL_GPIO_WritePin(IN3A_GPIO_Port, IN3A_Pin, SET);
    HAL_GPIO_WritePin(IN1A_GPIO_Port, IN1A_Pin, SET);
  }
  else if (direction == -1)
  {
    HAL_GPIO_WritePin(IN3B_GPIO_Port, IN3B_Pin, SET);
    HAL_GPIO_WritePin(IN1B_GPIO_Port, IN1B_Pin, SET);
  }
  else
  {
    Set_Speed(0, 0);
    Set_Speed(0, 2);
    HAL_GPIO_WritePin(IN3A_GPIO_Port, IN3A_Pin, SET);
    HAL_GPIO_WritePin(IN3B_GPIO_Port, IN3B_Pin, SET);
    HAL_GPIO_WritePin(IN1A_GPIO_Port, IN1A_Pin, SET);
    HAL_GPIO_WritePin(IN1B_GPIO_Port, IN1B_Pin, SET);
  }
}

void Set_RF_Direction(int direction)
{
  HAL_GPIO_WritePin(IN2A_GPIO_Port, IN2A_Pin, RESET);
  HAL_GPIO_WritePin(IN2B_GPIO_Port, IN2B_Pin, RESET);
  HAL_GPIO_WritePin(IN4A_GPIO_Port, IN4A_Pin, RESET);
  HAL_GPIO_WritePin(IN4B_GPIO_Port, IN4B_Pin, RESET);
  if (direction == 1)
  {
    HAL_GPIO_WritePin(IN2B_GPIO_Port, IN2B_Pin, SET);
    HAL_GPIO_WritePin(IN4B_GPIO_Port, IN4B_Pin, SET);
  }
  else if (direction == -1)
  {
    HAL_GPIO_WritePin(IN2A_GPIO_Port, IN2A_Pin, SET);
    HAL_GPIO_WritePin(IN4A_GPIO_Port, IN4A_Pin, SET);
  }
  else
  {
    Set_Speed(0, 1);
    Set_Speed(0, 3);
    HAL_GPIO_WritePin(IN2A_GPIO_Port, IN2A_Pin, SET);
    HAL_GPIO_WritePin(IN2B_GPIO_Port, IN2B_Pin, SET);
    HAL_GPIO_WritePin(IN4A_GPIO_Port, IN4A_Pin, SET);
    HAL_GPIO_WritePin(IN4B_GPIO_Port, IN4B_Pin, SET);
  }
}

void Round0()
{
  int k = 0;
  if (getGameState() == 2 || getGameState() == 3)
    return;
  uint16_t nearParkId;
  int isComplete[4] = {0, 0, 0, 0};
  float destination[4][2] = {{185, 70}, {128, 185}, {0, 0}, {0, 0}};
  float dist[4] = {0, 0, 0, 0};
  SurveyTowards(45);
  destination[2][0] = packageX[0], destination[2][1] = packageY[0];
  destination[3][0] = packageX[1], destination[3][1] = packageY[1];

  STATE = (uint8_t)SET_BEACON;
  MoveTo(70, 70, 0);
  Set_Beacon();
  struct MYCOORD coord = userGetCarPos();
  int minD = 0;
  float min;
  for (int i = 0; i < 4; i++)
  {
    coord = userGetCarPos();
    min = 1e9;
    for (int j = 0; j < 4; j++)
    {
      if (!isComplete[j])
        dist[j] = sq(destination[j][0] - coord.x) + sq(destination[j][1] - coord.y);
      else
        dist[j] = 1e9;
    }

    for (int j = 0; j < 4; j++)
    {
      if (isComplete[j])
        continue;
      minD = min < dist[j] ? minD : j;
      min = min < dist[j] ? min : dist[j];
    }

    if (minD < 2)
    {
      STATE = (uint8_t)SET_BEACON;
      MoveTo(destination[minD][0], destination[minD][1], 0);
      zigbeeSend(k++);
      Set_Beacon();
    }
    else
    {
      STATE = (uint8_t)GET_PACKAGE;
      MoveTo(destination[minD][0], destination[minD][1], 0);
    }

    isComplete[minD] = 1;
  }

  while (getCarMineSumNum() < 2)
  {
    if (getIsMineIntensityValid(0))
    {
      MoveTo(packageX[0], packageY[0], 0);
    }
    if (getIsMineIntensityValid(1))
    {
      MoveTo(packageX[1], packageY[1], 0);
    }
  }

  nearParkId = getNearestPark(0);
  STATE = (uint8_t)PUT_PACKAGE;
  while (1)
    MoveTo(Park[nearParkId].x, Park[nearParkId].y, 0);
}

/* USER CODE END 0 */

int main(void)
{

  /* MCU Configuration--------------------------------------------------------*/

  /* Reset of all peripherals, Initializes the Flash interface and the Systick. */
  HAL_Init();

  /* Configure the system clock */
  SystemClock_Config();

  /* Initialize all configured peripherals */
  MX_GPIO_Init();
  MX_TIM1_Init();
  MX_TIM2_Init();
  MX_TIM3_Init();
  MX_TIM4_Init();
  MX_TIM5_Init();
  MX_TIM8_Init();
  MX_DMA_Init();
  MX_USART3_UART_Init();
  MX_USART2_UART_Init();
  /* USER CODE BEGIN 2 */
  HAL_TIM_Base_Start_IT(&htim2);
  HAL_TIM_PWM_Start(&htim1, TIM_CHANNEL_1);
  HAL_TIM_PWM_Start(&htim1, TIM_CHANNEL_2);
  HAL_TIM_PWM_Start(&htim1, TIM_CHANNEL_3);
  HAL_TIM_PWM_Start(&htim1, TIM_CHANNEL_4);
  HAL_TIM_Encoder_Start(&htim3, TIM_CHANNEL_ALL);
  HAL_TIM_Encoder_Start(&htim4, TIM_CHANNEL_ALL);
  HAL_TIM_Encoder_Start(&htim5, TIM_CHANNEL_ALL);
  HAL_TIM_Encoder_Start(&htim8, TIM_CHANNEL_ALL);
  HAL_Delay(500);
  jy62_Init(&huart2);
  zigbee_Init(&huart3);
  Calibrate_Angle();
  /* USER CODE END 2 */

  /* Infinite loop */
  while (1)
  {

    /* USER CODE BEGIN 3 */
    /*********************主逻辑******************/
    uint8_t gameState = getGameState();

    if (gameState == 0 || gameState == 2 || gameState == 3)
    {
      Set_LF_Direction(0);
      Set_RF_Direction(0);
    }

    while (gameState == 1)
    {
      uint8_t ROUND = getCarTask();
      if (ROUND == 0)
      {
        Round0();
      }

      if (ROUND == 1)
      {
        int m;
        if (!isInitialMinePark)
        {
          initialParkMineType();
          isInitialMinePark = 1;
          STATE = (uint8_t)GET_PACKAGE;
        }

        if (getGameTime() > 950 && getCarMineSumNum() != 0)
          STATE = (uint8_t)PUT_PACKAGE;

        switch (STATE)
        {
        case GET_PACKAGE:
          getPackage();
          if (getCarMineSumNum() > 8)
            STATE = (uint8_t)PUT_PACKAGE;
          break;

        case PUT_PACKAGE:
          m = getNearestPark(curMostMineType());
          MoveTo(Park[m].x, Park[m].y, Park[m].mineType);
          STATE = (uint8_t)GET_PACKAGE;
          break;

        default:
          STATE = (uint8_t)GET_PACKAGE;
          break;
        }
      }
      gameState = getGameState();
    }
    /* USER CODE END 3 */
  }
}

void SystemClock_Config(void)
{
  RCC_OscInitTypeDef RCC_OscInitStruct = {0};
  RCC_ClkInitTypeDef RCC_ClkInitStruct = {0};

  /** Initializes the RCC Oscillators according to the specified parameters
   * in the RCC_OscInitTypeDef structure.
   */
  RCC_OscInitStruct.OscillatorType = RCC_OSCILLATORTYPE_HSE;
  RCC_OscInitStruct.HSEState = RCC_HSE_ON;
  RCC_OscInitStruct.HSEPredivValue = RCC_HSE_PREDIV_DIV1;
  RCC_OscInitStruct.HSIState = RCC_HSI_ON;
  RCC_OscInitStruct.PLL.PLLState = RCC_PLL_ON;
  RCC_OscInitStruct.PLL.PLLSource = RCC_PLLSOURCE_HSE;
  RCC_OscInitStruct.PLL.PLLMUL = RCC_PLL_MUL9;
  if (HAL_RCC_OscConfig(&RCC_OscInitStruct) != HAL_OK)
  {
    Error_Handler();
  }
  /** Initializes the CPU, AHB and APB buses clocks
   */
  RCC_ClkInitStruct.ClockType = RCC_CLOCKTYPE_HCLK | RCC_CLOCKTYPE_SYSCLK | RCC_CLOCKTYPE_PCLK1 | RCC_CLOCKTYPE_PCLK2;
  RCC_ClkInitStruct.SYSCLKSource = RCC_SYSCLKSOURCE_PLLCLK;
  RCC_ClkInitStruct.AHBCLKDivider = RCC_SYSCLK_DIV1;
  RCC_ClkInitStruct.APB1CLKDivider = RCC_HCLK_DIV2;
  RCC_ClkInitStruct.APB2CLKDivider = RCC_HCLK_DIV1;

  if (HAL_RCC_ClockConfig(&RCC_ClkInitStruct, FLASH_LATENCY_2) != HAL_OK)
  {
    Error_Handler();
  }
}

void Error_Handler(void)
{
  __disable_irq();
  while (1)
  {
  }
}

/************************ (C) COPYRIGHT STMicroelectronics *****END OF FILE****/
